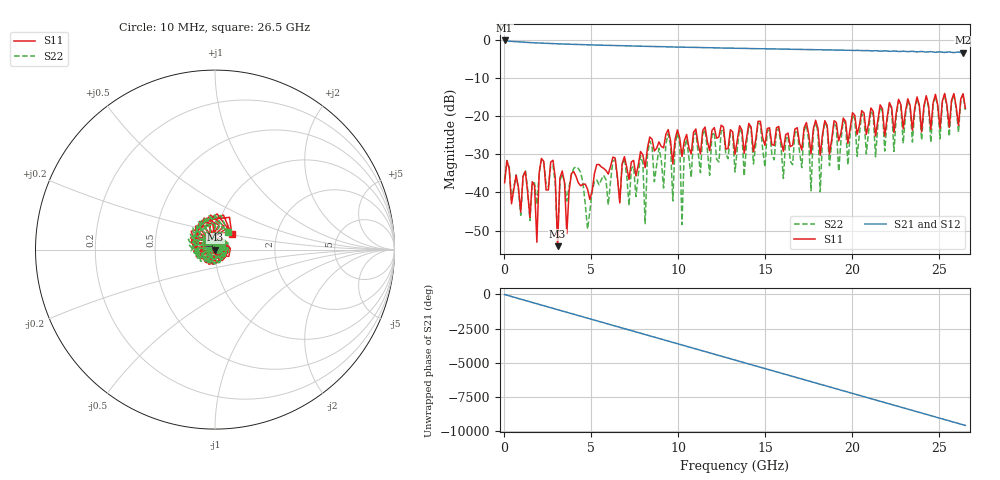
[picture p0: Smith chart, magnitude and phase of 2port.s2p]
!Keysight Technologies,N5222A,MY51421047,A.10.65.16
!Date: Friday, September 25, 2026 12:48:36
!Correction: S11(Full 2 Port(1,2))
!S21(Full 2 Port(1,2))
!S12(Full 2 Port(1,2))
!S22(Full 2 Port(1,2))
!S2P File: Measurements: S11, S21, S12, S22:
# Hz S  RI  R 50
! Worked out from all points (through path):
!   201 points, 10 MHz to 26.5 GHz, reference 50 ohm
!   highest |S21| = -0.12 dB at 10 MHz (marker M1); lowest = -3.3 dB at 26.37 GHz (marker M2)
!   lowest |S11| = -54.1 dB at 3.056 GHz (marker M3), VSWR 1.00, Z = 50.2 - j0.102 ohm
!   |S11| at or under -10 dB: start of sweep to end of sweep
!   |S22| runs from -52.8 to -14.3 dB; largest |S21 - S12| = 0.0011
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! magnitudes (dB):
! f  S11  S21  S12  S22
! 10 MHz  -37.4  -0.1  -0.1  -36.7
! 1.864 GHz  -53.0  -0.8  -0.8  -43.2
! 2.129 GHz  -31.1  -0.8  -0.8  -31.3
! 2.791 GHz  -31.5  -1.0  -1.0  -32.7
! 3.056 GHz  -54.1  -1.0  -1.0  -52.8
! 3.321 GHz  -34.4  -1.0  -1.0  -35.2
! 3.586 GHz  -50.8  -1.1  -1.1  -42.3
! 4.513 GHz  -37.9  -1.2  -1.2  -37.5
! 7.825 GHz  -29.3  -1.6  -1.6  -30.3
! 8.089 GHz  -33.5  -1.7  -1.6  -48.2
! 8.884 GHz  -26.7  -1.7  -1.7  -28.4
! 9.679 GHz  -32.5  -1.8  -1.8  -42.2
! 9.944 GHz  -23.6  -1.9  -1.9  -24.3
! 10.21 GHz  -30.6  -1.9  -1.9  -48.4
! 10.47 GHz  -24.8  -1.9  -1.9  -25.9
! 13.26 GHz  -30.0  -2.1  -2.1  -34.6
! 17.76 GHz  -23.3  -2.5  -2.5  -24.2
! 18.16 GHz  -30.3  -2.6  -2.6  -39.8
! 18.42 GHz  -21.2  -2.6  -2.6  -21.4
! 22.13 GHz  -16.4  -3.0  -3.0  -16.8
! 26.37 GHz  -14.1  -3.3  -3.3  -14.3
! 26.5 GHz  -17.9  -3.2  -3.2  -18.3
